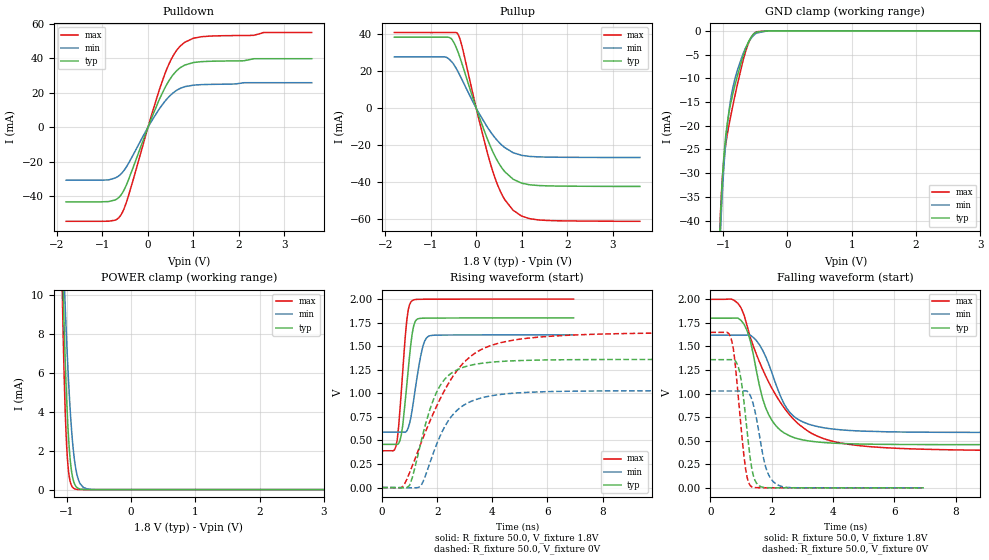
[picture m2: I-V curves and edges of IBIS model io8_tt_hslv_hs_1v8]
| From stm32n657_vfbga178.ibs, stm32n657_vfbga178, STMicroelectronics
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[Model]   io8_tt_hslv_hs_1v8
Model_type I/O
Polarity   Non-Inverting
Enable   Active-Low
| CAP_THRESHOLD on pad IOTT is "UDTCAPC" :
| Rising=30.0% of vddiov33m   Falling=70.0% of vddiov33m
| C_comp min and max val. don't necessarily correlate with the min and max pvt
| but are the smallest and greatest pad capacitance found.
| var   typ   min   max
C_comp   1.26690pF  1.09321pF  1.36430pF
|C_comp_pullup   869.30000fF  531.82000fF  521.19000fF
|C_comp_pulldown   397.59601fF  561.39043fF  843.10518fF
Vinl = 810.0mV
Vinh = 1.0V
Vmeas = 900.0mV   | Reference voltage for timing measurements
Cref  = 50.0pF   | Timing specification test load capacitance value
Rref  = 1.0MOhm   | Timing specification test load resistance value
Vref  = 990.0mV   | Timing specification test load voltage
[Model Spec]
| TIME_THRESHOLD on pin ZIV08M is "CMOS" :
| Rising=50.0% of vddv08m   Falling=50.0% of vddv08m
Vinl 675.70000mV 623.70000mV 735.70000mV
Vinh 1.12730V 1.01130V 1.24930V
| variable   typ   min   max
[Temperature Range] 25.0 125.0 -40.0
| variable   typ   min   max
[Voltage Range] 1.8V 1.62V 2.0V
| variable   typ   min   max
[POWER Clamp Reference] 1.8V 1.62V 2.0V
| variable   typ   min   max
[GND Clamp Reference] 0V 0V 0V
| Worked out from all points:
|   slope of the pulldown table from 0 to 0.27 V, typ, clamps not added: 15.6 ohm
|   slope of the pullup table from 0 to 0.27 V, typ, clamps not added: 14.9 ohm
|   GND clamp passes 1 mA (typ) near -0.55 V on its own axis
|   POWER clamp passes 1 mA (typ) near -0.93 V on its own axis
|   rising waveform, R_fixture 50.0, V_fixture 1.8V: 20-80 % time 274ps typ, 339ps min, 247ps max; typ from 0.458 V to 1.8 V
|   falling waveform, R_fixture 50.0, V_fixture 1.8V: 20-80 % time 666ps typ, 835ps min, 1.53ns max; typ from 1.8 V to 0.458 V
|   rising waveform, R_fixture 50.0, V_fixture 0V: 20-80 % time 880ps typ, 1.06ns min, 1.71ns max; typ from 0 V to 1.36 V
|   falling waveform, R_fixture 50.0, V_fixture 0V: 20-80 % time 292ps typ, 372ps min, 291ps max; typ from 1.36 V to 0 V
[POWER Clamp]
-1.8V     152.1mA    105.6mA    221.1mA
-1.07V    12.07mA    13.62mA    10.38mA
-1.05V    9.569mA    11.75mA    7.249mA
-1.03V    7.339mA    9.993mA    4.743mA
-1.01V    5.42mA     8.357mA    2.898mA
-990mV    3.841mA    6.859mA    1.662mA
-970mV    2.609mA    5.513mA    906.5uA
-940mV    1.358mA    3.806mA    344.1uA
-880mV    308.3uA    1.548mA    45.55uA
-790mV    28.47uA    298.6uA    2.144uA
-610mV    219.5nA    7.365uA    27.8nA
3.6V      0A         0A         0A
[GND Clamp]
-1.8V     -1.222A    -1.193A    -1.238A
-1.05V    -42.33mA   -45.55mA   -41.2mA
-1.04V    -38.89mA   -42.1mA    -37.88mA
-1.03V    -35.83mA   -38.98mA   -35.06mA
-1.01V    -30.7mA    -33.54mA   -30.61mA
-970mV    -23.47mA   -25.17mA   -24.97mA
-920mV    -18.06mA   -18.06mA   -20.63mA
-870mV    -14.51mA   -13.44mA   -17.13mA
-780mV    -9.532mA   -8.354mA   -11.38mA
-650mV    -3.743mA   -3.581mA   -4.327mA
-490mV    -324.1uA   -556uA     -259.6uA
3.6V      67.14nA    3.404uA    33.72nA
| variable   typ   min   max
[Pullup Reference] 1.8V 1.62V 2.0V
| variable   typ   min   max
[Pulldown Reference] 0V 0V 0V
[Pullup]
-1.8V     38.22mA    27.62mA    40.72mA
-610mV    38.2mA     26.68mA    40.72mA
-520mV    36.51mA    24.52mA    40.72mA
-410mV    30.85mA    20.07mA    40.15mA
-310mV    23.77mA    15.24mA    33.09mA
70mV      -5.022mA   -3.131mA   -7.212mA
350mV     -22.69mA   -13.97mA   -32.92mA
570mV     -32.38mA   -20.06mA   -46.75mA
810mV     -38.27mA   -23.98mA   -54.98mA
1V        -40.44mA   -25.43mA   -58.16mA
1.37V     -41.7mA    -26.27mA   -60.24mA
3.6V      -42.18mA   -26.58mA   -60.97mA
[Pulldown]
-1.8V     -43.21mA   -30.64mA   -54.48mA
-870mV    -43.06mA   -30.5mA    -54.44mA
-700mV    -41.81mA   -29.1mA    -53.55mA
-600mV    -39.48mA   -27.21mA   -51.03mA
-440mV    -31.2mA    -21.48mA   -40.66mA
70mV      4.786mA    3.206mA    6.392mA
360mV     22.22mA    14.64mA    30.08mA
580mV     31.3mA     20.48mA    42.61mA
810mV     36.07mA    23.54mA    49.29mA
1.18V     38.05mA    24.73mA    52.5mA
2.54V     39.74mA    25.83mA    54.9mA
3.6V      39.74mA    25.83mA    54.9mA
[Ramp]
dV/dt_r 815.91813mV/877.91674ps 616.4941mV/1.05884ns 989.55702mV/1.7123ns
dV/dt_f 805.07322mV/661.55151ps 619.1849mV/832.54737ps 965.62698mV/1.52645ns
R_load = 50.0
| Removed startup time: 0s 0s 0s  .
| Removed end time: 6.95ns.
[Rising Waveform]
R_fixture   = 50.0
V_fixture   = 1.8V
V_fixture_min = 1.62V
V_fixture_max = 2.0V
0s        458.2mV    588mV      390.6mV
450ps     458.2mV    588mV      399mV
550ps     456.9mV    588mV      506mV
700ps     560.7mV    588mV      1.024V
900ps     1.097V     601.7mV    1.783V
1.1ns     1.645V     837.3mV    1.986V
1.2ns     1.762V     1.037V     1.995V
1.45ns    1.797V     1.462V     1.999V
1.7ns     1.799V     1.608V     1.999V
6.95ns    1.8V       1.62V      2V
| Removed startup time: 0s 0s 0s  .
| Removed end time: 199.9ns.
[Falling Waveform]
R_fixture   = 50.0
V_fixture   = 1.8V
V_fixture_min = 1.62V
V_fixture_max = 2.0V
0s        1.8V       1.62V      2V
700ps     1.8V       1.62V      2.002V
1.1ns     1.735V     1.62V      1.833V
1.3ns     1.566V     1.62V      1.601V
1.8ns     852.7mV    1.395V     1.189V
2.4ns     583.6mV    893.6mV    851.6mV
2.9ns     517.1mV    718.8mV    669.5mV
3.8ns     478.6mV    632.3mV    511.2mV
7ns       459.3mV    590.4mV    409.4mV
199.9ns   458.2mV    588mV      390.6mV
| Removed startup time: 0s 0s 0s  .
| Removed end time: 199.9ns.
[Rising Waveform]
R_fixture   = 50.0
V_fixture   = 0V
V_fixture_min = 0V
V_fixture_max = 0V
0s        126.9nV    1.961uV    185.2nV
700ps     -2.867mV   -6.099uV   -1.827mV
1ns       24.28mV    -1.989mV   158.5mV
1.4ns     468.8mV    12.81mV    460.9mV
1.9ns     960.4mV    397.9mV    813.6mV
2.6ns     1.23V      784.3mV    1.193V
3.3ns     1.304V     923.1mV    1.412V
4.1ns     1.334V     980.4mV    1.521V
7.8ns     1.358V     1.025V     1.628V
199.9ns   1.36V      1.027V     1.649V
| Removed startup time: 0s 0s 0s  .
| Removed end time: 6.95ns.
[Falling Waveform]
R_fixture   = 50.0
V_fixture   = 0V
V_fixture_min = 0V
V_fixture_max = 0V
0s        1.36V      1.027V     1.649V
700ps     1.36V      1.028V     1.558V
800ps     1.354V     1.027V     1.348V
1ns       1.153V     1.027V     651.7mV
1.2ns     600.5mV    1.026V     110.5mV
1.35ns    208mV      940.9mV    10.8mV
1.5ns     52.77mV    742.2mV    2.241mV
1.8ns     2.563mV    226.6mV    887.2uV
2.2ns     654.5uV    31.1mV     465uV
6.95ns    14.41uV    29.73uV    37.39uV
